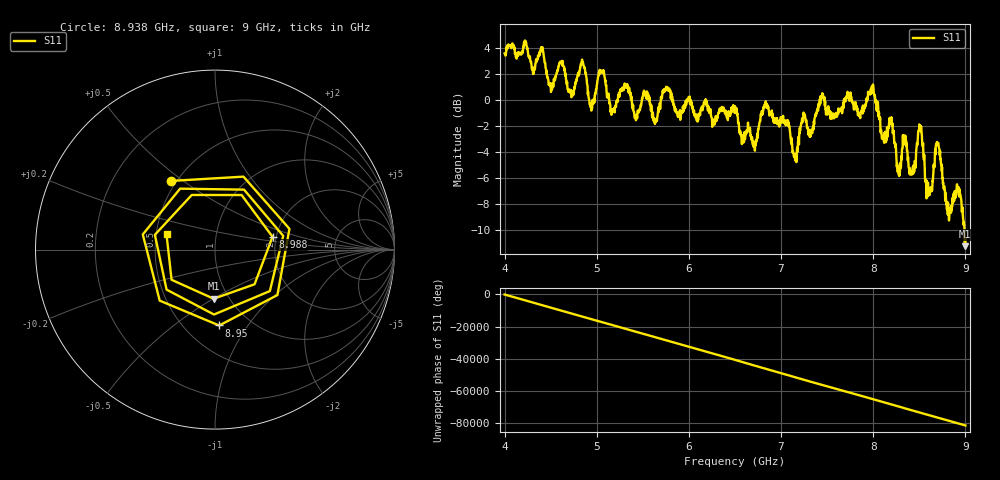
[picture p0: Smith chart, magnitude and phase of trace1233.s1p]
! Created with skrf 1.8.0 (http://scikit-rf.org).
# Hz S RI R 50.0
!freq ReS11 ImS11
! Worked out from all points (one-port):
!   1601 points, 4 GHz to 9 GHz, reference 50 ohm
!   lowest |S11| = -11.3 dB at 8.994 GHz (marker M1), VSWR 1.75, Z = 42.4 - j25.1 ohm
!   |S11| at or under -10 dB: 8.988995 GHz to end of sweep
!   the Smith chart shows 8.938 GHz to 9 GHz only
!   S11 on the Smith chart (normalised r, x): 8.938 GHz: 0.47, +0.45; 8.95 GHz: 0.72, -0.75; 8.988 GHz: 1.91, +0.31; 9 GHz: 0.57, +0.10
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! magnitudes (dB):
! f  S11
! 4 GHz  3.6
! 4.503 GHz  0.6
! 4.625 GHz  2.8
! 4.725 GHz  0.2
! 4.85 GHz  2.9
! 4.941 GHz  -0.8
! 5.05 GHz  2.1
! 5.169 GHz  -0.7
! 5.25 GHz  0.5
! 5.875 GHz  -1.1
! 6.5 GHz  -0.4
! 6.712 GHz  -3.3
! 6.841 GHz  -0.3
! 7.125 GHz  -4.0
! 7.444 GHz  0.3
! 7.75 GHz  0.1
! 7.994 GHz  0.9
! 8.275 GHz  -5.7
! 8.375 GHz  -4.6
! 8.509 GHz  -1.9
! 8.591 GHz  -7.2
! 8.694 GHz  -3.3
! 8.819 GHz  -8.8
! 8.938 GHz  -6.9
! 8.95 GHz  -7.5
! 8.988 GHz  -9.7
! 8.994 GHz  -11.3
! 9 GHz  -11.0
